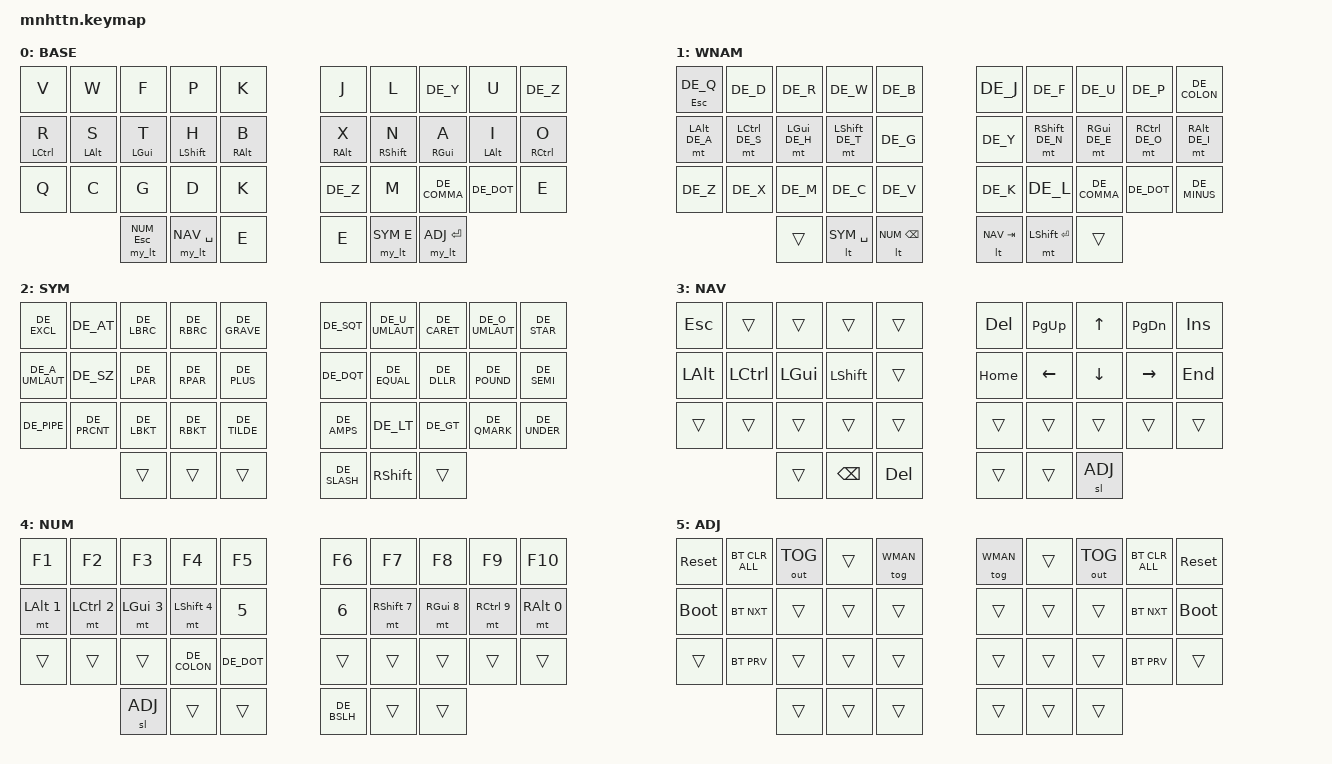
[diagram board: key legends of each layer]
#include <behaviors.dtsi>
#include <dt-bindings/zmk/keys.h>
#include <dt-bindings/zmk/bt.h>
#include <dt-bindings/zmk/outputs.h>

#include "keys_de.h"

#define BASE 0
#define APT 0
#define WMAN 1
#define SYM  2
#define NAV  3
#define NUM  4
#define ADJ  5

#define QUICK_TAP_TIME 200

/ {
  macros {
  macro_sch:
    macro_sch {
      label = "Macro_sch";
      compatible = "zmk,behavior-macro";
      #binding-cells = <0>;
      bindings = <&macro_tap &kp S &macro_release &kp RSHIFT &macro_tap &kp C &kp H>;
    };
  };
};

/ {
    combos {
        compatible = "zmk,combos";
/* usually on base layer */
        combo_q {
            timeout-ms = <40>;
            key-positions = <2 3>;
            bindings = <&kp Q>;
            layers = <APT>;
        };
        combo_z {
            timeout-ms = <40>;
            key-positions = <21 22>;
            bindings = <&kp DE_Z>;
            layers = <APT>;
        };
        combo_v {
            timeout-ms = <40>;
            key-positions = <1 2>;
            bindings = <&kp V>;
            layers = <APT>;
        };
        combo_b {
            timeout-ms = <40>;
            key-positions = <12 3>;
            bindings = <&kp B>;
            layers = <APT>;
        };
        combo_k {
            timeout-ms = <40>;
            key-positions = <12 13>;
            bindings = <&kp K>;
            layers = <APT>;
        };
        combo_x {
            timeout-ms = <40>;
            key-positions = <16 17>;
            bindings = <&kp X>;
            layers = <APT>;
        };
        combo_j {
            timeout-ms = <40>;
            key-positions = <6 17>;
            bindings = <&kp J>;
            layers = <APT>;
        };
        combo_sch {
            timeout-ms = <40>;
            key-positions = <11 13>;
            bindings = <&macro_sch>;
            layers = <APT>;
        };
        combo_esc {
            timeout-ms = <40>;
            key-positions = <19 20>;
            bindings = <&kp ESC>;
        };
/* parentheticals */
        combo_lbrc {
            timeout-ms = <40>;
            key-positions = <0 9>;
            bindings = <&kp DE_LBRC>;
        };
        combo_lbkt {
            timeout-ms = <40>;
            key-positions = <1 10>;
            bindings = <&kp DE_LBKT>;
        };
        combo_lpar {
            timeout-ms = <40>;
            key-positions = <2 11>;
            bindings = <&kp DE_LPAR>;
        };
        combo_lt {
            timeout-ms = <40>;
            key-positions = <3 12>;
            bindings = <&kp DE_LT>;
        };
        combo_gt {
            timeout-ms = <40>;
            key-positions = <4 13>;
            bindings = <&kp DE_GT>;
        };
        combo_rpar {
            timeout-ms = <40>;
            key-positions = <5 14>;
            bindings = <&kp DE_RPAR>;
        };
        combo_rbkt {
            timeout-ms = <40>;
            key-positions = <6 15>;
            bindings = <&kp DE_RBKT>;
        };
        combo_rbrc {
            timeout-ms = <40>;
            key-positions = <7 16>;
            bindings = <&kp DE_RBRC>;
        };
/* caps */
        combo_caps-word {
            timeout-ms = <40>;
            key-positions = <13 16>;
            bindings = <&caps_word>;
        };
        combo_capslock {
            timeout-ms = <40>;
            key-positions = <0 7>;
            bindings = <&kp CAPSLOCK>;
        };
/* deletion */
        combo_bspc {
            timeout-ms = <40>;
            key-positions = <6 7>;
            bindings = <&kp BSPC>;
        };
        combo_del {
            timeout-ms = <40>;
            key-positions = <7 8>;
            bindings = <&kp DEL>;
        };
        combo_delword {
            timeout-ms = <40>;
            key-positions = <6 8>;
            bindings = <&kp LC(BSPC)>;
        };
    };
};


/ {
    chosen {
      zmk,battery = &vbatt;
    };

    vbatt: vbatt {
        compatible = "zmk,battery-nrf-vddh";
    };

    behaviors {
        ht: hold_tap {
            compatible = "zmk,behavior-hold-tap";
            #binding-cells = <2>;
            flavor = "tap-preferred";
            tapping-term-ms = <200>;
            quick-tap-ms = <QUICK_TAP_TIME>;
            bindings = <&kp>, <&kp>;
        };
        mt: mod_tap {
            compatible = "zmk,behavior-hold-tap";
            #binding-cells = <2>;
            quick-tap-ms = <100>;
            flavor = "balanced";
            tapping-term-ms = <170>;
        };
        lt: layer_tap {
            compatible = "zmk,behavior-hold-tap";
            #binding-cells = <2>;
            quick-tap-ms = <QUICK_TAP_TIME>;
            flavor = "balanced";
            tapping-term-ms = <170>;
        };

        hl: homerow_mods_left {
            compatible = "zmk,behavior-hold-tap";
            label = "homerow mods left";
            #binding-cells = <2>;
            // flavor = "tap-preferred";
            flavor = "balanced";
            tapping-term-ms = <150>;
            quick-tap-ms = <QUICK_TAP_TIME>;
            // global-quick-tap;
            bindings = <&kp>, <&kp>;
            // opposite side hand keys
            hold-trigger-key-positions = < 5 6 7 8 9 15 16 17 18 19 25 26 27 28 29 33 34 35>;
        };
        hr: homerow_mods_right {
            compatible = "zmk,behavior-hold-tap";
            label = "homerow mods right";
            #binding-cells = <2>;
            // flavor = "tap-preferred";
            flavor = "balanced";
            tapping-term-ms = <150>;
            quick-tap-ms = <QUICK_TAP_TIME>;
            // global-quick-tap;
            bindings = <&kp>, <&kp>;
            // opposite side hand keys
            hold-trigger-key-positions = <0 1 2 3 4 10 11 12 13 14 20 21 22 23 24 25 30 31 32>;
        };
        my_lt: my_layer_taps {
            compatible = "zmk,behavior-hold-tap";
            label = "my layer taps";
            #binding-cells = <2>;
            // flavor = "tap-preferred";
            flavor = "balanced";
            tapping-term-ms = <150>;
            quick-tap-ms = <QUICK_TAP_TIME>;
            // global-quick-tap;
            bindings = <&mo &kp>, <&kp>;
            // non-thumb keys
            hold-trigger-key-positions = <0 1 2 3 4 5 6 7 8 9 10 11 12 13 14 15 16 17 18 19 20 21 22 23 24 25 26 27 28 29 30 31 32 33 34 35>;
        };
    };

    keymap {
        compatible = "zmk,keymap";
        base_layer {
            label= "BASE";
            bindings = <
                &kp V          &kp W          &kp F          &kp P          &kp K          &kp J          &kp L          &kp DE_Y       &kp U          &kp DE_Z
                &hl LCTRL R    &hl LALT S     &hl LGUI T     &hl LSHFT H    &hl RALT B     &hr RALT X     &hr RSHFT N    &hr RGUI A     &hr LALT I     &hr RCTRL O
                &kp Q          &kp C          &kp G          &kp D          &kp K          &kp DE_Z       &kp M          &kp DE_COMMA   &kp DE_DOT     &kp E
                                              &my_lt NUM ESC &my_lt NAV SPACE &kp E &kp E &my_lt SYM E  &my_lt ADJ ENTER
            >;
        };

        workman_layer {
            label= "WNAM";
            bindings = <
                &ht ESC DE_Q    &kp DE_D        &kp DE_R        &kp DE_W        &kp DE_B              &kp DE_J        &kp DE_F        &kp DE_U        &kp DE_P        &kp DE_COLON
                &mt LALT DE_A   &mt LCTRL DE_S  &mt LGUI DE_H   &mt LSHFT DE_T  &kp DE_G              &kp DE_Y        &mt RSHFT DE_N  &mt RGUI DE_E   &mt RCTRL DE_O  &mt RALT DE_I
                &kp DE_Z        &kp DE_X        &kp DE_M        &kp DE_C        &kp DE_V              &kp DE_K        &kp DE_L        &kp DE_COMMA    &kp DE_DOT      &kp DE_MINUS
                                                &trans          &lt SYM SPACE   &lt NUM BSPC          &lt NAV TAB     &mt LSHFT RET   &trans
            >;
        };

        sim_layer {
            label= "SYM";
            bindings = <
                &kp DE_EXCL     &kp DE_AT       &kp DE_LBRC     &kp DE_RBRC     &kp DE_GRAVE          &kp DE_SQT      &kp DE_U_UMLAUT &kp DE_CARET    &kp DE_O_UMLAUT &kp DE_STAR
                &kp DE_A_UMLAUT &kp DE_SZ       &kp DE_LPAR     &kp DE_RPAR     &kp DE_PLUS           &kp DE_DQT      &kp DE_EQUAL    &kp DE_DLLR     &kp DE_POUND    &kp DE_SEMI
                &kp DE_PIPE     &kp DE_PRCNT    &kp DE_LBKT     &kp DE_RBKT     &kp DE_TILDE          &kp DE_AMPS     &kp DE_LT       &kp DE_GT       &kp DE_QMARK    &kp DE_UNDER
                                                &trans          &trans          &trans                &kp DE_SLASH    &kp RSHFT       &trans
            >;
        };

        nav_layer {
            label= "NAV";
	          bindings = <
                &kp ESC         &trans          &trans          &trans          &trans                &kp DEL         &kp PG_UP       &kp UP          &kp PG_DN       &kp INS
                &kp LALT        &kp LCTRL       &kp LGUI        &kp LSHFT       &trans                &kp HOME        &kp LEFT        &kp DOWN        &kp RIGHT       &kp END
                &trans          &trans          &trans          &trans          &trans                &trans          &trans          &trans          &trans          &trans
                                                &trans          &kp BSPC        &kp DEL               &trans          &trans          &sl ADJ
            >;
        };

        num_layer {
            label= "NUM";
	          bindings = <
                &kp F1          &kp F2          &kp F3          &kp F4          &kp F5                &kp F6          &kp F7          &kp F8          &kp F9          &kp F10
                &mt LALT N1     &mt LCTRL N2    &mt LGUI N3     &mt LSHFT N4    &kp N5                &kp N6          &mt RSHFT N7    &mt RGUI N8     &mt RCTRL N9    &mt RALT N0
                &trans          &trans          &trans          &kp DE_COLON    &kp DE_DOT            &trans          &trans          &trans          &trans          &trans
                                                &sl ADJ         &trans          &trans                &kp DE_BSLH     &trans          &trans
            >;
        };

        adjust_layer {
            label= "ADJ";
	          bindings = <
                &sys_reset      &bt BT_CLR_ALL  &out OUT_TOG    &trans          &tog WMAN             &tog WMAN       &trans          &out OUT_TOG    &bt BT_CLR_ALL  &sys_reset
                &bootloader     &bt BT_NXT      &trans          &trans          &trans                &trans          &trans          &trans          &bt BT_NXT      &bootloader
                &trans          &bt BT_PRV      &trans          &trans          &trans                &trans          &trans          &trans          &bt BT_PRV      &trans
                                                &trans          &trans          &trans                &trans          &trans          &trans
            >;
        };
    };
};
